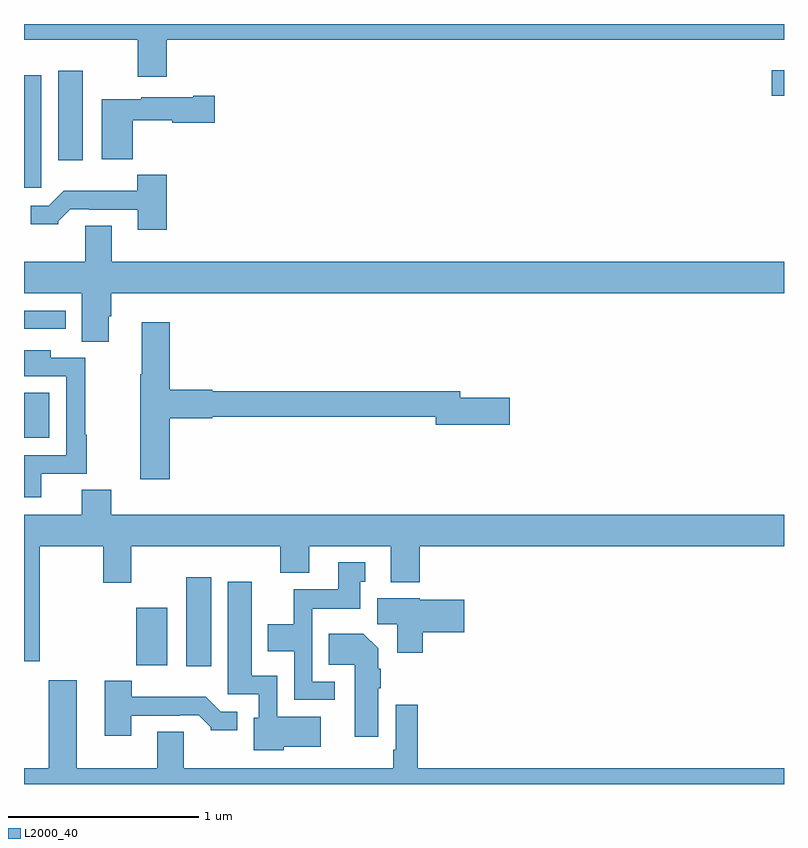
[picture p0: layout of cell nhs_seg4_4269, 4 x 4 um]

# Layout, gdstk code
import gdstk
lib = gdstk.Library(unit=1e-6, precision=1e-09)
def R(c, l, rs):  # rectangles x0, y0, x1, y1
    for r in rs: c.add(gdstk.rectangle(r[:2], r[2:], *l))
def P(c, l, *ps):  # polygons
    for p in ps: c.add(gdstk.Polygon(p, *l))
L2000_40 = (2000, 40)

nhs_seg4_4269 = lib.new_cell('nhs_seg4_4269')
R(nhs_seg4_4269, L2000_40, [(339.854,797.52,339.985,797.989), (339,798.722,339.133,798.958), (339,799.296,339.22,799.392), (339,800.037,339.091,800.629), (339.179,800.184,339.31,800.653), (342.936,800.522,343,800.656)])
P(nhs_seg4_4269, L2000_40, [(339.752,800.816),(343,800.816),(343,800.9),(339,800.9),(339,800.816),(339.599,800.816),(339.599,800.622),(339.752,800.622)],
  [(339.572,800.393),(339.78,800.393),(339.78,800.381),(340.003,800.381),(340.003,800.523),(339.89,800.523),(339.89,800.515),(339.618,800.515),(339.618,800.503),(339.41,800.503),(339.41,800.189),(339.572,800.189)],
  [(339.752,800.107),(339.597,800.107),(339.597,800.023),(339.208,800.023),(339.129,799.944),(339.036,799.944),(339.036,799.847),(339.18,799.847),(339.18,799.862),(339.244,799.926),(339.343,799.926),(339.343,799.923),(339.599,799.923),(339.599,799.818),(339.752,799.818)],
  [(339.445,799.362),(339.458,799.362),(339.458,799.484),(343,799.484),(343,799.648),(339.463,799.648),(339.463,799.838),(339.323,799.838),(339.323,799.648),(339,799.648),(339,799.484),(339.305,799.484),(339.305,799.228),(339.445,799.228)],
  [(339.767,798.824),(339.99,798.824),(339.99,798.832),(341.168,798.832),(341.168,798.79),(341.557,798.79),(341.557,798.932),(341.296,798.932),(341.296,798.968),(339.99,798.968),(339.99,798.976),(339.767,798.976),(339.767,799.33),(339.62,799.33),(339.62,799.057),(339.613,799.057),(339.613,798.504),(339.767,798.504)],
  [(339.092,798.534),(339.331,798.534),(339.331,798.737),(339.323,798.737),(339.323,799.143),(339.141,799.143),(339.141,799.183),(339,799.183),(339,799.047),(339.222,799.047),(339.222,798.63),(339,798.63),(339,798.408),(339.092,798.408)],
  [(339.082,798.152),(339.418,798.152),(339.418,797.958),(339.565,797.958),(339.565,798.152),(340.349,798.152),(340.349,798.011),(340.501,798.011),(340.501,798.152),(340.931,798.152),(340.931,797.963),(341.084,797.963),(341.084,798.152),(343,798.152),(343,798.316),(339.458,798.316),(339.458,798.449),(339.305,798.449),(339.305,798.316),(339,798.316),(339,797.546),(339.082,797.546)],
  [(340.636,797.439),(340.518,797.439),(340.518,797.822),(340.771,797.822),(340.771,797.964),(340.795,797.964),(340.795,798.067),(340.655,798.067),(340.655,797.926),(340.42,797.926),(340.42,797.74),(340.283,797.74),(340.283,797.6),(340.422,797.6),(340.422,797.343),(340.636,797.343)],
  [(340.368,797.096),(340.561,797.096),(340.561,797.254),(340.332,797.254),(340.332,797.47),(340.198,797.47),(340.198,797.965),(340.073,797.965),(340.073,797.373),(340.236,797.373),(340.236,797.25),(340.208,797.25),(340.208,797.078),(340.368,797.078)],
  [(341.099,797.699),(341.317,797.699),(341.317,797.869),(341.082,797.869),(341.082,797.878),(340.859,797.878),(340.859,797.74),(340.964,797.74),(340.964,797.592),(341.099,797.592)],
  [(339.754,797.827),(339.59,797.827),(339.59,797.673),(339.592,797.673),(339.592,797.525),(339.754,797.525)],
  [(340.864,797.404),(340.877,797.404),(340.877,797.507),(340.864,797.507),(340.864,797.614),(340.786,797.692),(340.603,797.692),(340.603,797.528),(340.742,797.528),(340.742,797.148),(340.864,797.148)],
  [(339.841,797.174),(339.701,797.174),(339.701,796.984),(339.277,796.984),(339.277,797.446),(339.13,797.446),(339.13,796.984),(339,796.984),(339,796.9),(343,796.9),(343,796.984),(341.072,796.984),(341.072,797.317),(340.956,797.317),(340.956,797.08),(340.944,797.08),(340.944,796.984),(339.841,796.984)],
  [(339.565,797.259),(339.821,797.259),(339.821,797.262),(339.92,797.262),(339.984,797.198),(339.984,797.183),(340.123,797.183),(340.123,797.28),(340.035,797.28),(339.957,797.359),(339.568,797.359),(339.568,797.443),(339.425,797.443),(339.425,797.154),(339.565,797.154)])

lib.write_gds('nhs_seg4_4269.gds')
